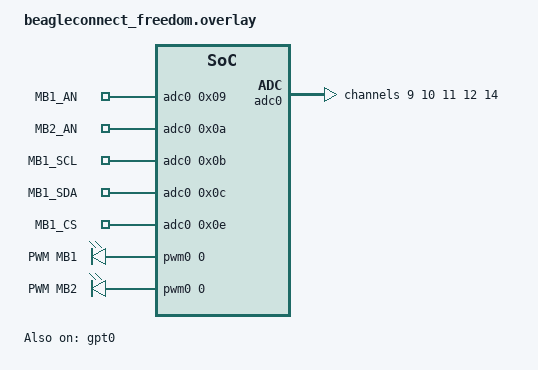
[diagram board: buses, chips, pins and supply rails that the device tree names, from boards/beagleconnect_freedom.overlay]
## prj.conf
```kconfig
CONFIG_SRA_BOARD_COMPONENT=y
CONFIG_ADC=y
CONFIG_LOG=y
CONFIG_PRINTK=y
CONFIG_PWM=y
```

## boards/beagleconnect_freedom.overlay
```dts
/ {
    zephyr,user {
        /* Combine io-channels and io-channel-names into arrays */
        io-channels = <&adc0 0x09>, <&adc0 0x0a>, <&adc0 0x0b>, <&adc0 0x0c>, <&adc0 0x0e>;
        io-channel-names = "MB1_AN", "MB2_AN", "MB1_SCL", "MB1_SDA", "MB1_CS";
    };

    aliases {
        pwm-led0 = &pwm_led0;
        pwm-led1 = &pwm_led1;
    };

    pwmleds {
        compatible = "pwm-leds";
        
        pwm_led0: pwm_led_0 {
            pwms = <&pwm0 0 255 PWM_POLARITY_NORMAL>;
            label = "PWM MB1";
        };

        pwm_led1: pwm_led_1 {
            pwms = <&pwm0 0 255 PWM_POLARITY_NORMAL>;
            label = "PWM MB2";
        };
    };
};

&adc0 {
    status = "okay";

    #address-cells = <1>;
    #size-cells = <0>;

    /* MB1 AN */
    channel@9 {
        reg = <9>;
        zephyr,gain = "ADC_GAIN_1";
        zephyr,reference = "ADC_REF_INTERNAL";
        zephyr,acquisition-time = <ADC_ACQ_TIME_DEFAULT>;
        zephyr,resolution = <12>;
    };

    /* MB2 AN */
    channel@a {
        reg = <10>;
        zephyr,gain = "ADC_GAIN_1";
        zephyr,reference = "ADC_REF_INTERNAL";
        zephyr,acquisition-time = <ADC_ACQ_TIME_DEFAULT>;
        zephyr,resolution = <12>;
    };

    /* MB1/2 SCL */
    channel@b {
        reg = <11>;
        zephyr,gain = "ADC_GAIN_1";
        zephyr,reference = "ADC_REF_INTERNAL";
        zephyr,acquisition-time = <ADC_ACQ_TIME_DEFAULT>;
        zephyr,resolution = <12>;
    };

    /* MB1/2 SDA */
    channel@c {
        reg = <12>;
        zephyr,gain = "ADC_GAIN_1";
        zephyr,reference = "ADC_REF_INTERNAL";
        zephyr,acquisition-time = <ADC_ACQ_TIME_DEFAULT>;
        zephyr,resolution = <12>;
    };

    /* MB1 CS */
    channel@e {
        reg = <14>;
        zephyr,gain = "ADC_GAIN_1";
        zephyr,reference = "ADC_REF_INTERNAL";
        zephyr,acquisition-time = <ADC_ACQ_TIME_DEFAULT>;
        zephyr,resolution = <12>;
    };
};

&pinctrl {
    pwm0_default: pwm0_default {
        pinmux = <17 IOC_PORT_MCU_PORT_EVENT1>;
        bias-disable;
        drive-strength = <8>;
    };

    pwm1_default: pwm1_default {
        pinmux = <19 IOC_PORT_MCU_PORT_EVENT1>;
        bias-disable;
        drive-strength = <8>;
    };
};

&gpt0 {
    status = "okay";
};
```

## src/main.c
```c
#include <sra_board.h>
// #include <device.h>
// #include <drivers/motor.h>
// #include <drivers/adc.h>
// #include <logging/log.h>

#define STACK_SIZE 2048

#define BLACK_MARGIN 4095
#define WHITE_MARGIN 0
#define BOUND_LSA_LOW 0
#define BOUND_LSA_HIGH 1000
#define BLACK_BOUNDARY 890

/*
 * Weights given to respective line sensors
 */
const int weights[5] = {-5, -3, 1, 3, 5};

/*
 * Motor value bounds
 */

int lower_duty_cycle = PWM_SEC(1U) / 128U;
int higher_duty_cycle = PWM_SEC(1U) / 32U;
int optimum_duty_cycle = PWM_SEC(1U) / 64U;
float left_duty_cycle = 0, right_duty_cycle = 0;
double kp = 4, ki = 0, kd = 12;

/*
 * Line Following PID Variables
 */
double error = 0, prev_error = 0, difference, cumulative_error, correction;

// Read line sensor data
line_sensor_array line_sensor_readings;

void calculate_correction()
{
    error *= 10; // Scale error
    difference = error - prev_error;
    cumulative_error += error;

    cumulative_error = bound(cumulative_error, -30, 30);

    correction = kp * error + ki * cumulative_error + kd * difference;
    prev_error = error;
}

void calculate_error()
{
    int all_black_flag = 1; // Assume all black condition
    float weighted_sum = 0, sum = 0;
    float pos = 0;
    int k;

    for (int i = 0; i < 5; i++)
    {
        if (line_sensor_readings.adc_reading[i] > BLACK_BOUNDARY)
        {
            all_black_flag = 0;
        }
        k = (line_sensor_readings.adc_reading[i] > BLACK_BOUNDARY) ? 1 : 0;
        weighted_sum += (float)(weights[i]) * k;
        sum += k;
    }

    if (sum != 0) // Safety check
    {
        pos = (weighted_sum - 1) / sum; // Position wrt line
    }

    if (all_black_flag == 1) // All black condition
    {
        error = (prev_error > 0) ? 2.5 : -2.5;
    }
    else
    {
        error = pos;
    }
}

void line_follow_task(void)
{
    motor_enable();
    enable_line_sensor();
    while (1)
    {
        line_sensor_readings = read_line_sensor();
        for (int i = 0; i < 5; i++)
        {
            line_sensor_readings.adc_reading[i] = bound(line_sensor_readings.adc_reading[i], WHITE_MARGIN, BLACK_MARGIN);
            line_sensor_readings.adc_reading[i] = map(line_sensor_readings.adc_reading[i], WHITE_MARGIN, BLACK_MARGIN, BOUND_LSA_LOW, BOUND_LSA_HIGH);
            line_sensor_readings.adc_reading[i] = 1000 - (line_sensor_readings.adc_reading[i]);
        }

        calculate_error();
        calculate_correction();

        left_duty_cycle = bound((optimum_duty_cycle + correction), lower_duty_cycle, higher_duty_cycle);
        right_duty_cycle = bound((optimum_duty_cycle - correction), lower_duty_cycle, higher_duty_cycle);

        // Set motor speed
        motor1_set_speed(left_duty_cycle);
        motor2_set_speed(right_duty_cycle);

        k_sleep(K_MSEC(10));
    }
}

int main(void)
{
    line_follow_task();
}
```
